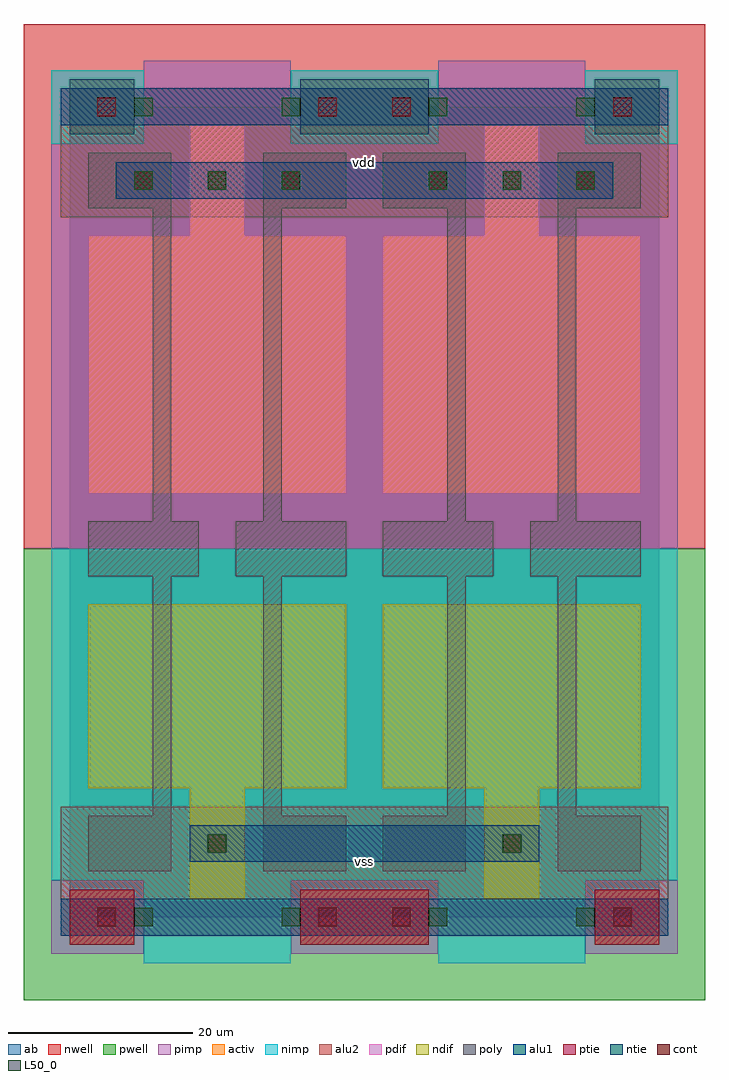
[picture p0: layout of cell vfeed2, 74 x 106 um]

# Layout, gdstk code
import gdstk
lib = gdstk.Library(unit=1e-6, precision=1e-09)
def R(c, l, rs):  # rectangles x0, y0, x1, y1
    for r in rs: c.add(gdstk.rectangle(r[:2], r[2:], *l))
def A(c, l, x, y, w, h, nx, ny, dx, dy):  # array of equal rectangles
    R(c, l, [(x+i*dx, y+j*dy, x+i*dx+w, y+j*dy+h) for i in range(nx) for j in range(ny)])
ndif = (3, 0)
pdif = (4, 0)
ntie = (5, 0)
ptie = (6, 0)
cont = (25, 0)
pwell = (41, 0)
nwell = (42, 0)
activ = (43, 0)
pimp = (44, 0)
nimp = (45, 0)
poly = (46, 0)
alu1 = (49, 0)
L50_0 = (50, 0)
alu2 = (51, 0)
ab = (63, 0)

vfeed2 = lib.new_cell('vfeed2')
R(vfeed2, ndif, [(13,2,19,14), (45,2,51,14), (2,14,30,34), (34,14,62,34)])
R(vfeed2, pdif, [(2,46,30,74), (34,46,62,74), (13,74,19,86), (45,74,51,86)])
R(vfeed2, ntie, [(0,85,7,91), (25,85,39,91), (57,85,64,91)])
R(vfeed2, ptie, [(0,-3,7,3), (25,-3,39,3), (57,-3,64,3)])
A(vfeed2, cont, 7, 79, 2, 2, 3, 1, 8, 0)
A(vfeed2, cont, 39, 79, 2, 2, 3, 1, 8, 0)
R(vfeed2, cont, [(3,-1,5,1), (27,-1,29,1), (35,-1,37,1), (59,-1,61,1), (15,7,17,9), (47,7,49,9), (3,87,5,89), (27,87,29,89), (35,87,37,89), (59,87,61,89)])
R(vfeed2, pwell, [(-5,-9,69,40)])
R(vfeed2, nwell, [(-5,40,69,97)])
R(vfeed2, activ, [(0,-3,7,3), (25,-3,39,3), (57,-3,64,3), (13,2,19,14), (45,2,51,14), (2,14,30,34), (34,14,62,34), (2,46,30,74), (34,46,62,74), (13,74,19,86), (45,74,51,86), (0,85,7,91), (25,85,39,91), (57,85,64,91)])
R(vfeed2, pimp, [(-2,-4,8,4), (24,-4,40,4), (56,-4,66,4), (-2,40,66,84), (8,84,24,93), (40,84,56,93)])
R(vfeed2, nimp, [(8,-5,24,4), (40,-5,56,4), (-2,4,66,40), (-2,84,8,92), (24,84,40,92), (56,84,66,92)])
A(vfeed2, poly, 2, 37, 12, 6, 4, 1, 16, 0)
R(vfeed2, poly, [(2,5,11,11), (21,5,30,11), (34,5,43,11), (53,5,62,11), (9,11,11,37), (21,11,23,37), (41,11,43,37), (53,11,55,37), (9,43,11,77), (21,43,23,77), (41,43,43,77), (53,43,55,77), (2,77,11,83), (21,77,30,83), (34,77,43,83), (53,77,62,83)])
R(vfeed2, alu1, [(-1,-2,65,2), (13,6,51,10), (5,78,59,82), (-1,86,65,90)])
A(vfeed2, L50_0, 7, -1, 2, 2, 4, 2, 16, 88)
A(vfeed2, L50_0, 7, 79, 2, 2, 3, 1, 8, 0)
A(vfeed2, L50_0, 39, 79, 2, 2, 3, 1, 8, 0)
R(vfeed2, L50_0, [(15,7,17,9), (47,7,49,9)])
R(vfeed2, alu2, [(-1,-2,65,12), (-1,76,65,90)])
R(vfeed2, ab, [(0,0,64,88)])
vfeed2.add(gdstk.Label('vss', (32,6), layer=51, texttype=0))
vfeed2.add(gdstk.Label('vdd', (32,82), layer=51, texttype=0))

lib.write_gds('vfeed2.gds')
